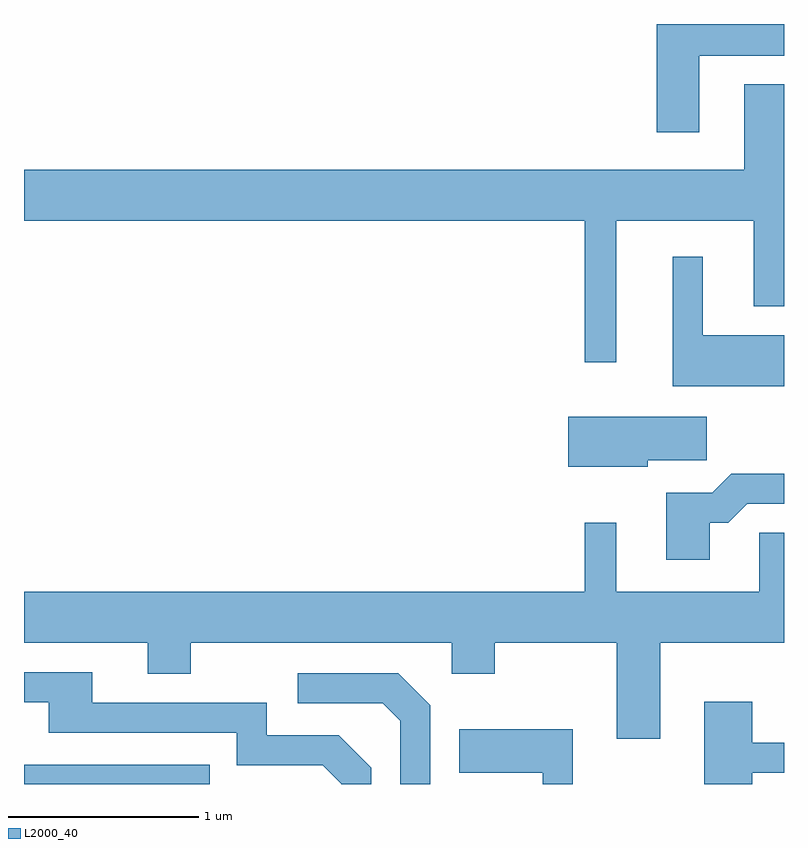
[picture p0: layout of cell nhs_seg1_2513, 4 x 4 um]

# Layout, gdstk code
import gdstk
lib = gdstk.Library(unit=1e-6, precision=1e-09)
def R(c, l, rs):  # rectangles x0, y0, x1, y1
    for r in rs: c.add(gdstk.rectangle(r[:2], r[2:], *l))
def P(c, l, *ps):  # polygons
    for p in ps: c.add(gdstk.Polygon(p, *l))
L2000_40 = (2000, 40)

nhs_seg1_2513 = lib.new_cell('nhs_seg1_2513')
R(nhs_seg1_2513, L2000_40, [(261.611,907.712,262.588,907.814)])
P(nhs_seg1_2513, L2000_40, [(265.164,911.546),(265.611,911.546),(265.611,911.712),(264.941,911.712),(264.941,911.141),(265.164,911.141)],
  [(264.729,910.676),(265.451,910.676),(265.451,910.226),(265.611,910.226),(265.611,911.394),(265.401,911.394),(265.401,910.944),(261.611,910.944),(261.611,910.676),(264.561,910.676),(264.561,909.933),(264.729,909.933)],
  [(265.611,910.074),(265.184,910.074),(265.184,910.488),(265.026,910.488),(265.026,909.806),(265.611,909.806)],
  [(264.894,909.416),(265.204,909.416),(265.204,909.644),(264.476,909.644),(264.476,909.381),(264.894,909.381)],
  [(265.219,909.086),(265.317,909.086),(265.417,909.186),(265.611,909.186),(265.611,909.344),(265.334,909.344),(265.234,909.244),(264.991,909.244),(264.991,908.891),(265.219,908.891)],
  [(264.959,908.456),(265.611,908.456),(265.611,909.034),(265.481,909.034),(265.481,908.724),(264.729,908.724),(264.729,909.088),(264.561,909.088),(264.561,908.724),(261.611,908.724),(261.611,908.456),(262.261,908.456),(262.261,908.291),(262.489,908.291),(262.489,908.456),(263.861,908.456),(263.861,908.291),(264.089,908.291),(264.089,908.456),(264.731,908.456),(264.731,907.951),(264.959,907.951)],
  [(263.439,907.797),(263.267,907.969),(262.889,907.969),(262.889,908.139),(261.969,908.139),(261.969,908.299),(261.611,908.299),(261.611,908.141),(261.741,908.141),(261.741,907.981),(262.731,907.981),(262.731,907.811),(263.184,907.811),(263.281,907.714),(263.281,907.712),(263.439,907.712)],
  [(263.749,908.127),(263.582,908.294),(263.053,908.294),(263.053,908.136),(263.499,908.136),(263.591,908.044),(263.591,907.712),(263.749,907.712)],
  [(265.444,907.771),(265.611,907.771),(265.611,907.929),(265.444,907.929),(265.444,908.144),(265.191,908.144),(265.191,907.712),(265.444,907.712)],
  [(264.499,907.999),(263.901,907.999),(263.901,907.771),(264.341,907.771),(264.341,907.712),(264.499,907.712)])

lib.write_gds('nhs_seg1_2513.gds')
